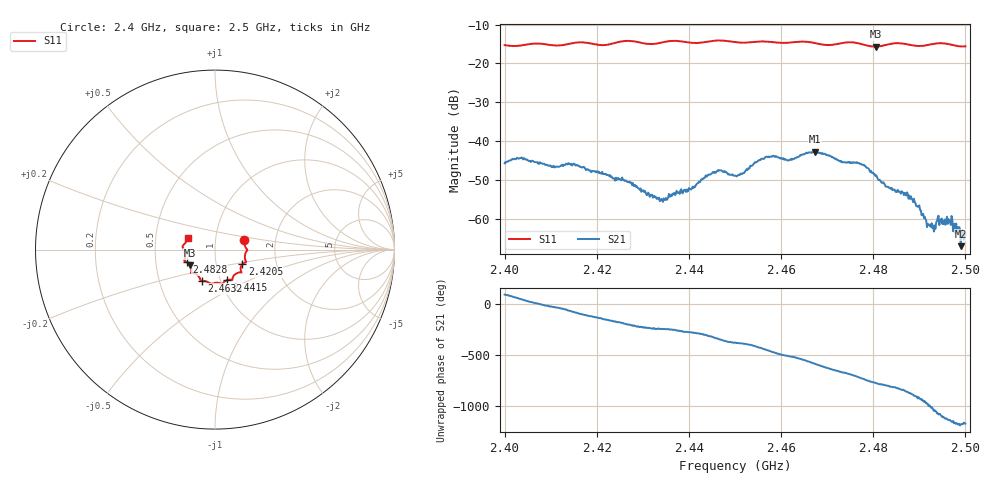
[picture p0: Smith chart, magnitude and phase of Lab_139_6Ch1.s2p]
# Hz S RI R 50
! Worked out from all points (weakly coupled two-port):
!   601 points, 2.4 GHz to 2.5 GHz, reference 50 ohm
!   highest |S21| = -42.73 dB at 2.4673 GHz (marker M1); lowest = -67.1 dB at 2.499 GHz (marker M2)
!   lowest |S11| = -15.7 dB at 2.4805 GHz (marker M3), VSWR 1.39, Z = 37.3 - j6.69 ohm
!   |S11| at or under -10 dB: start of sweep to end of sweep
!   S12 and S22 are empty: the file has one direction only
!   S11 on the Smith chart (normalised r, x): 2.4 GHz: 1.38, +0.15; 2.4205 GHz: 1.34, -0.23; 2.4415 GHz: 1.07, -0.38; 2.4632 GHz: 0.82, -0.29; 2.4828 GHz: 0.72, -0.10; 2.5 GHz: 0.73, +0.10
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2.4e9  0.1638 0.0519  -0.000196 0.00517  0 0  0 0
2.403167e9  0.1681 0.017  0.00367 0.00471  0 0  0 0
2.4105e9  0.1698 -0.0205  0.00402 -0.00227  0 0  0 0
2.416667e9  0.1731 -0.07  -0.000873 -0.00453  0 0  0 0
2.4205e9  0.152 -0.0817  -0.00305 -0.00263  0 0  0 0
2.433333e9  0.1003 -0.1515  -0.000902 0.00157  0 0  0 0
2.4415e9  0.0656 -0.1707  0.000676 0.00261  0 0  0 0
2.4465e9  0.0407 -0.193  0.00407 0.000827  0 0  0 0
2.45e9  0.0243 -0.1864  0.0034 -0.00118  0 0  0 0
2.457e9  -0.0261 -0.1891  -0.000593 -0.00627  0 0  0 0
2.463167e9  -0.0731 -0.1739  -0.00589 -0.00131  0 0  0 0
2.466667e9  -0.0822 -0.167  -0.00559 0.00431  0 0  0 0
2.467333e9  -0.0837 -0.1627  -0.00481 0.0055  0 0  0 0
2.477e9  -0.1321 -0.1225  0.00519 -0.000246  0 0  0 0
2.4805e9  -0.1388 -0.0873  0.00192 -0.00297  0 0  0 0
2.482833e9  -0.1587 -0.0699  0.000437 -0.00254  0 0  0 0
2.483333e9  -0.1625 -0.068  0.000228 -0.00254  0 0  0 0
2.487833e9  -0.1671 -0.0484  -0.00182 -0.000793  0 0  0 0
2.492e9  -0.1732 0.0012  0.000204 0.000827  0 0  0 0
2.4965e9  -0.1744 0.0269  0.000448 -0.000802  0 0  0 0
2.499e9  -0.1573 0.0507  -0.000117 -0.000428  0 0  0 0
2.5e9  -0.1525 0.0645  -6.5e-05 -0.000628  0 0  0 0
